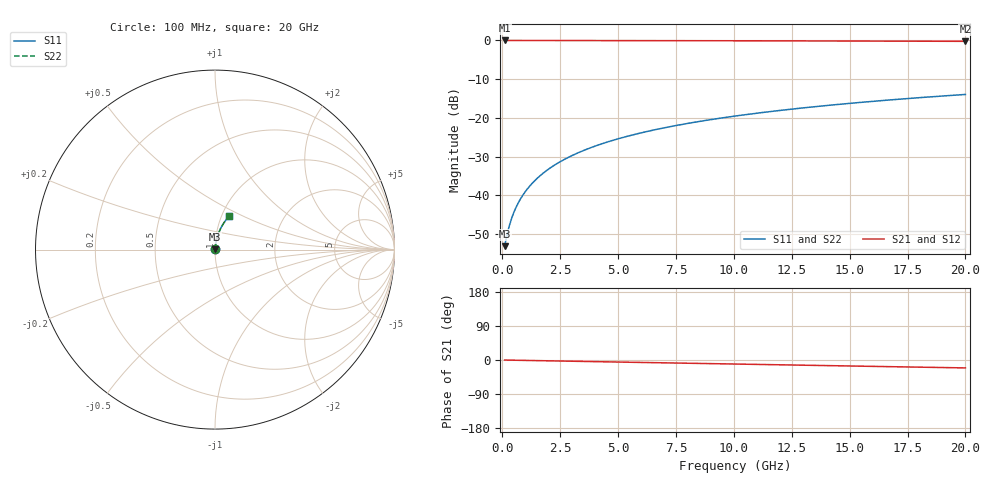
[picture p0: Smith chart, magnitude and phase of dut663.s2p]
! Touchstone file exported from HFSS 2026.1.0
!  File:  C:/ffzhzh/LocalFiles/Ansys_Project_Files/temp_train_BSMRDL_663_1783017217_51716.aedt
!  Generated:  02:34:56 AM Jul  3, 2026
!  Design:  BSMRDL
!  Project:  temp_train_BSMRDL_663_1783017217_51716
! Variables:
!  h_bsmrdl = 3.41um
!  h_ox = 20um
!  h_rdl = 5um
!  h_sub = 80um
!  h_tmrdl = 5um
!  h_tsv = 80um
!  h_via = 3um
!  l_bsmrdl = 284.24um
!  l_sub = 684.24um
!  l_tmrdl = 200um
!  m_sub = 200um
!  pitch = 37.68um
!  r_tsv = 6um
!  s_tmrdl = 10um
!  w_bsmrdl = 17.58um
!  w_sub = 500um
!  w_tmrdl = 12um
!  x_tsv_center1 = 206um
!  x_tsv_center2 = 507.82um
!  x_tsv_center3 = 719.82um
!  x_tsv_center4 = 1021.64um
!  x_tsv_center5 = 1233.64um
!  x_tsv_center6 = 1535.46um
# GHz S MA R 50.000000
! Terminal data exported
! Port[1] = BSM_RDL1_1_T1
! Port[2] = BSM_RDL1_1_T2
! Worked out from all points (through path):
!   200 points, 100 MHz to 20 GHz, reference 50 ohm
!   highest |S21| = -0.02 dB at 100 MHz (marker M1); lowest = -0.2 dB at 20 GHz (marker M2)
!   group delay of S21, straight-line fit = 2.9 ps
!   lowest |S11| = -53.1 dB at 100 MHz (marker M3), VSWR 1.00, Z = 50.2 + j0.119 ohm
!   |S11| at or under -10 dB: start of sweep to end of sweep
!   |S22| runs from -53.1 to -13.9 dB; largest |S21 - S12| = 2.6e-15
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0.1  0.002219 32.4  0.9981 -0.1  0.9981 -0.1  0.002219 32.4
! Gamma 0 0 0 0
! Port Impedance 50 0 50 0
0.2  0.003048 50.4  0.9981 -0.2  0.9981 -0.2  0.003048 50.4
0.3  0.004024 59.8  0.998 -0.3  0.998 -0.3  0.004024 59.8
0.4  0.005039 65.2  0.9979 -0.4  0.9979 -0.4  0.005039 65.2
0.5  0.006065 68.8  0.9978 -0.6  0.9978 -0.6  0.006065 68.8
0.6  0.007096 71.4  0.9978 -0.7  0.9978 -0.7  0.007096 71.4
0.8  0.009175 74.9  0.9977 -0.9  0.9977 -0.9  0.009175 74.9
1.1  0.01233 77.9  0.9976 -1.2  0.9976 -1.2  0.01233 77.9
1.3  0.01444 79.1  0.9975 -1.4  0.9975 -1.4  0.01444 79.1
1.6  0.01763 80.3  0.9974 -1.7  0.9974 -1.7  0.01763 80.3
2.1  0.02297 81.4  0.9972 -2.3  0.9972 -2.3  0.02297 81.4
2.7  0.02939 81.9  0.9969 -2.9  0.9969 -2.9  0.02939 81.9
3.5  0.03792 81.9  0.9964 -3.8  0.9964 -3.8  0.03792 81.9
4.2  0.04535 81.6  0.9959 -4.5  0.9959 -4.5  0.04535 81.6
5  0.05379 81.1  0.9953 -5.4  0.9953 -5.4  0.05379 81.1
5.9  0.06322 80.4  0.9944 -6.3  0.9944 -6.3  0.06322 80.4
6.8  0.07256 79.6  0.9935 -7.3  0.9935 -7.3  0.07256 79.6
8.3  0.08796 78.3  0.9918 -8.9  0.9918 -8.9  0.08796 78.3
10.1  0.1062 76.6  0.9894 -10.8  0.9894 -10.8  0.1062 76.6
13.4  0.1387 73.4  0.9845 -14.2  0.9845 -14.2  0.1387 73.4
16.7  0.1703 70.2  0.9788 -17.6  0.9788 -17.6  0.1703 70.2
20  0.2008 67.1  0.9725 -20.9  0.9725 -20.9  0.2008 67.1
